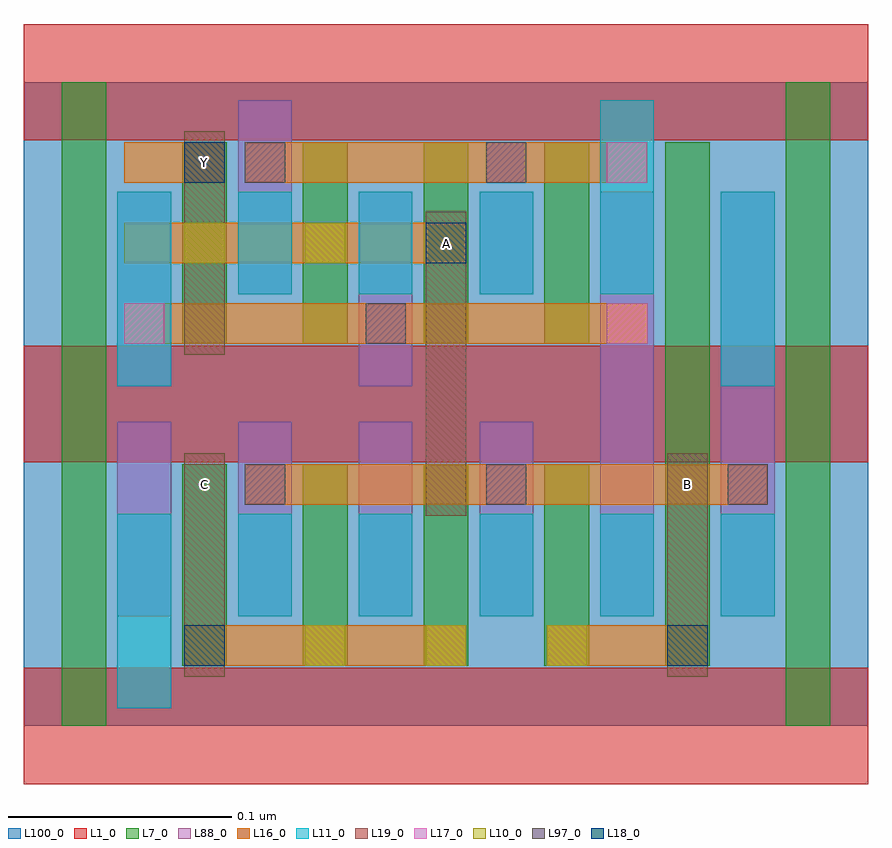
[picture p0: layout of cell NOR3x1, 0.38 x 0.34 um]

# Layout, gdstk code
import gdstk
lib = gdstk.Library(unit=1e-6, precision=2.5e-10)
def R(c, l, rs):  # rectangles x0, y0, x1, y1
    for r in rs: c.add(gdstk.rectangle(r[:2], r[2:], *l))
def A(c, l, x, y, w, h, nx, ny, dx, dy):  # array of equal rectangles
    R(c, l, [(x+i*dx, y+j*dy, x+i*dx+w, y+j*dy+h) for i in range(nx) for j in range(ny)])
L1_0 = (1, 0)
L7_0 = (7, 0)
L10_0 = (10, 0)
L11_0 = (11, 0)
L16_0 = (16, 0)
L17_0 = (17, 0)
L18_0 = (18, 0)
L19_0 = (19, 0)
L88_0 = (88, 0)
L97_0 = (97, 0)
L100_0 = (100, 0)

nor3x1 = lib.new_cell('NOR3x1')
A(nor3x1, L1_0, 0, -0.026, 0.378, 0.052, 1, 3, 0, 0.144)
A(nor3x1, L7_0, 0.071, 0.027, 0.02, 0.09, 4, 2, 0.054, 0.144)
R(nor3x1, L7_0, [(0.017,0,0.037,0.144), (0.341,0,0.361,0.144), (0.287,0.027,0.307,0.144), (0.017,0.144,0.037,0.288), (0.287,0.144,0.307,0.261), (0.341,0.144,0.361,0.288)])
A(nor3x1, L10_0, 0.072, 0.027, 0.018, 0.018, 5, 1, 0.054, 0)
A(nor3x1, L10_0, 0.072, 0.207, 0.018, 0.018, 3, 1, 0.054, 0)
A(nor3x1, L11_0, 0.096, 0.049, 0.024, 0.046, 5, 1, 0.054, 0)
A(nor3x1, L11_0, 0.096, 0.193, 0.024, 0.046, 3, 1, 0.054, 0)
R(nor3x1, L11_0, [(0.042,0.008,0.066,0.095), (0.042,0.152,0.066,0.239), (0.312,0.152,0.336,0.239), (0.258,0.193,0.282,0.28)])
R(nor3x1, L16_0, [(0.072,0.027,0.198,0.045), (0.234,0.027,0.306,0.045), (0.099,0.099,0.333,0.117), (0.045,0.171,0.279,0.189), (0.045,0.207,0.198,0.225), (0.045,0.243,0.09,0.261), (0.099,0.243,0.279,0.261)])
A(nor3x1, L17_0, 0.099, 0.099, 0.018, 0.018, 3, 1, 0.108, 0)
A(nor3x1, L17_0, 0.045, 0.171, 0.018, 0.018, 3, 1, 0.108, 0)
R(nor3x1, L17_0, [(0.099,0.243,0.117,0.261), (0.207,0.243,0.225,0.261), (0.261,0.243,0.279,0.261)])
R(nor3x1, L18_0, [(0.072,0.027,0.09,0.045), (0.288,0.027,0.306,0.045), (0.18,0.207,0.198,0.225), (0.072,0.243,0.09,0.261)])
R(nor3x1, L19_0, [(0.072,0.022,0.09,0.122), (0.288,0.022,0.306,0.122), (0.18,0.094,0.198,0.23), (0.072,0.166,0.09,0.266)])
A(nor3x1, L88_0, 0.042, 0.049, 0.024, 0.087, 4, 1, 0.054, 0)
R(nor3x1, L88_0, [(0.258,0.049,0.282,0.144), (0.312,0.049,0.336,0.144), (0.258,0.144,0.282,0.239), (0.312,0.144,0.336,0.239), (0.042,0.152,0.066,0.239), (0.15,0.152,0.174,0.239), (0.096,0.193,0.12,0.28), (0.204,0.193,0.228,0.239)])
A(nor3x1, L97_0, 0.099, 0.099, 0.018, 0.018, 3, 1, 0.108, 0)
R(nor3x1, L97_0, [(0.153,0.171,0.171,0.189), (0.099,0.243,0.117,0.261), (0.207,0.243,0.225,0.261)])
R(nor3x1, L100_0, [(0,0,0.378,0.288)])
nor3x1.add(gdstk.Label('A', (0.189,0.216), layer=19, texttype=251))
nor3x1.add(gdstk.Label('B', (0.297,0.108), layer=19, texttype=251))
nor3x1.add(gdstk.Label('C', (0.081,0.108), layer=19, texttype=251))
nor3x1.add(gdstk.Label('Y', (0.081,0.252), layer=19, texttype=251))

lib.write_gds('NOR3x1.gds')
